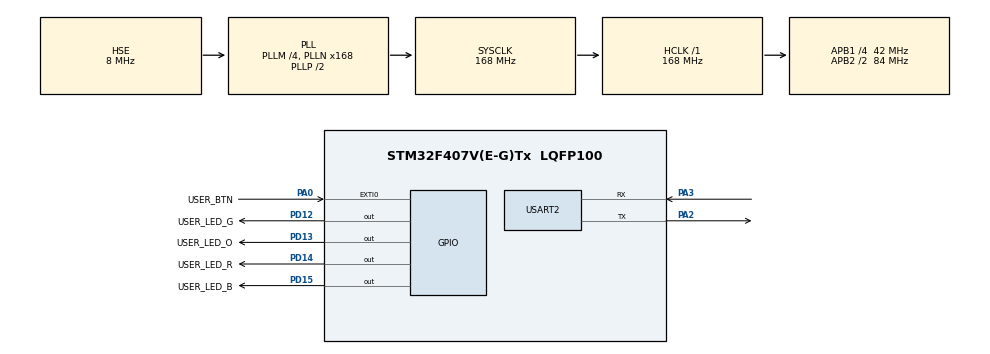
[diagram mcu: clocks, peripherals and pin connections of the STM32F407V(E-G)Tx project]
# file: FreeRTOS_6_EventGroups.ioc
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FREERTOS.INCLUDE_xEventGroupSetBitFromISR=1
FREERTOS.INCLUDE_xTimerPendFunctionCall=1
FREERTOS.Tasks01=BitSetter,0,128,EventBitSetTask,Default,NULL,Dynamic,NULL,NULL
FREERTOS.configUSE_TIMERS=1
Mcu.Family=STM32F4
Mcu.Name=STM32F407V(E-G)Tx
Mcu.Package=LQFP100
NVIC.EXTI0_IRQn=true\:5\:0\:true\:false\:false\:false\:true\:false
NVIC.PriorityGroup=NVIC_PRIORITYGROUP_4
NVIC.TIM1_UP_TIM10_IRQn=true\:0\:0\:false\:false\:true\:false\:false\:true
NVIC.TimeBase=TIM1_UP_TIM10_IRQn
NVIC.TimeBaseIP=TIM1
PA0-WKUP.GPIO_Label=USER_BTN
PA0-WKUP.GPIO_PuPd=GPIO_PULLDOWN
PA0-WKUP.Signal=GPXTI0
PA2.Mode=Asynchronous
PA2.Signal=USART2_TX
PA3.Mode=Asynchronous
PA3.Signal=USART2_RX
PD12.GPIO_Label=USER_LED_G
PD12.Signal=GPIO_Output
PD13.GPIO_Label=USER_LED_O
PD13.Signal=GPIO_Output
PD14.GPIO_Label=USER_LED_R
PD14.Signal=GPIO_Output
PD15.GPIO_Label=USER_LED_B
PD15.Signal=GPIO_Output
PH0-OSC_IN.Mode=HSE-External-Oscillator
PH0-OSC_IN.Signal=RCC_OSC_IN
PH1-OSC_OUT.Mode=HSE-External-Oscillator
PH1-OSC_OUT.Signal=RCC_OSC_OUT
ProjectManager.HeapSize=0x200
ProjectManager.StackSize=0x400
ProjectManager.TargetToolchain=STM32CubeIDE
RCC.48MHZClocksFreq_Value=84000000
RCC.AHBFreq_Value=168000000
RCC.APB1CLKDivider=RCC_HCLK_DIV4
RCC.APB1Freq_Value=42000000
RCC.APB1TimFreq_Value=84000000
RCC.APB2CLKDivider=RCC_HCLK_DIV2
RCC.APB2Freq_Value=84000000
RCC.APB2TimFreq_Value=168000000
RCC.CortexFreq_Value=168000000
RCC.HCLKFreq_Value=168000000
RCC.HSE_VALUE=8000000
RCC.HSI_VALUE=16000000
RCC.LSE_VALUE=32768
RCC.PLLM=4
RCC.PLLN=168
RCC.PLLSourceVirtual=RCC_PLLSOURCE_HSE
RCC.SYSCLKFreq_VALUE=168000000
RCC.SYSCLKSource=RCC_SYSCLKSOURCE_PLLCLK
RCC.VCOOutputFreq_Value=336000000
USART2.VirtualMode=VM_ASYNC
VP_FREERTOS_VS_CMSIS_V1.Mode=CMSIS_V1
VP_SYS_VS_tim1.Mode=TIM1
board=custom

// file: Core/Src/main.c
/* USER CODE BEGIN Header */
/**
  ******************************************************************************
  * @file           : main.c
  * @brief          : Main program body
  ******************************************************************************
  * @attention
  *
  * <h2><center>&copy; Copyright (c) 2020 STMicroelectronics.
  * All rights reserved.</center></h2>
  *
  * This software component is licensed by ST under BSD 3-Clause license,
  * the "License"; You may not use this file except in compliance with the
  * License. You may obtain a copy of the License at:
  *                        opensource.org/licenses/BSD-3-Clause
  *
  ******************************************************************************
  */
/* USER CODE END Header */
#include "main.h"
#include "cmsis_os.h"

/* USER CODE BEGIN Includes */
#include "string.h"

/* USER CODE END Includes */

/* USER CODE BEGIN PD */

/* Definitions for the event bits in the event group. */
#define mainFIRST_TASK_BIT ( 1UL << 0UL ) /* Event bit 0, which is set by a task. */
#define mainSECOND_TASK_BIT ( 1UL << 1UL ) /* Event bit 1, which is set by a task. */
#define mainISR_BIT ( 1UL << 2UL ) /* Event bit 2, which is set by an ISR. */

/* USER CODE END PD */

UART_HandleTypeDef huart2;

osThreadId BitSetterHandle;
/* USER CODE BEGIN PV */

EventGroupHandle_t xEventGroup;

/* USER CODE END PV */

void SystemClock_Config(void);
static void MX_GPIO_Init(void);
static void MX_USART2_UART_Init(void);
void EventBitSetTask(void const * argument);

/* USER CODE BEGIN PFP */

void EventBitReadTask(void* argument);
void InterruptTask(void *pvParameter1, uint32_t ulParameter2);
void UartPrint(char* message);

/* USER CODE END PFP */

int main(void)
{

  /* MCU Configuration--------------------------------------------------------*/

  /* Reset of all peripherals, Initializes the Flash interface and the Systick. */
  HAL_Init();

  /* Configure the system clock */
  SystemClock_Config();

  /* Initialize all configured peripherals */
  MX_GPIO_Init();
  MX_USART2_UART_Init();

  /* Create the thread(s) */
  /* definition and creation of BitSetter */
  osThreadDef(BitSetter, EventBitSetTask, osPriorityNormal, 0, 128);
  BitSetterHandle = osThreadCreate(osThread(BitSetter), NULL);

  /* USER CODE BEGIN RTOS_THREADS */

  xEventGroup = xEventGroupCreate();

  xTaskCreate(EventBitReadTask, "BitReader", configMINIMAL_STACK_SIZE, NULL, 1, NULL);

//  xTaskCreate(InterruptTask, "InterruptTask", configMINIMAL_STACK_SIZE, NULL, 2, NULL);
  /* add threads, ... */
  /* USER CODE END RTOS_THREADS */

  /* Start scheduler */
  osKernelStart();

  /* We should never get here as control is now taken by the scheduler */
  /* Infinite loop */
  while (1)
  {

  }
}

void SystemClock_Config(void)
{
  RCC_OscInitTypeDef RCC_OscInitStruct = {0};
  RCC_ClkInitTypeDef RCC_ClkInitStruct = {0};

  /** Configure the main internal regulator output voltage
  */
  __HAL_RCC_PWR_CLK_ENABLE();
  __HAL_PWR_VOLTAGESCALING_CONFIG(PWR_REGULATOR_VOLTAGE_SCALE1);
  /** Initializes the RCC Oscillators according to the specified parameters
  * in the RCC_OscInitTypeDef structure.
  */
  RCC_OscInitStruct.OscillatorType = RCC_OSCILLATORTYPE_HSE;
  RCC_OscInitStruct.HSEState = RCC_HSE_ON;
  RCC_OscInitStruct.PLL.PLLState = RCC_PLL_ON;
  RCC_OscInitStruct.PLL.PLLSource = RCC_PLLSOURCE_HSE;
  RCC_OscInitStruct.PLL.PLLM = 4;
  RCC_OscInitStruct.PLL.PLLN = 168;
  RCC_OscInitStruct.PLL.PLLP = RCC_PLLP_DIV2;
  RCC_OscInitStruct.PLL.PLLQ = 4;
  if (HAL_RCC_OscConfig(&RCC_OscInitStruct) != HAL_OK)
  {
    Error_Handler();
  }
  /** Initializes the CPU, AHB and APB buses clocks
  */
  RCC_ClkInitStruct.ClockType = RCC_CLOCKTYPE_HCLK|RCC_CLOCKTYPE_SYSCLK
                              |RCC_CLOCKTYPE_PCLK1|RCC_CLOCKTYPE_PCLK2;
  RCC_ClkInitStruct.SYSCLKSource = RCC_SYSCLKSOURCE_PLLCLK;
  RCC_ClkInitStruct.AHBCLKDivider = RCC_SYSCLK_DIV1;
  RCC_ClkInitStruct.APB1CLKDivider = RCC_HCLK_DIV4;
  RCC_ClkInitStruct.APB2CLKDivider = RCC_HCLK_DIV2;

  if (HAL_RCC_ClockConfig(&RCC_ClkInitStruct, FLASH_LATENCY_5) != HAL_OK)
  {
    Error_Handler();
  }
}

static void MX_USART2_UART_Init(void)
{

  huart2.Instance = USART2;
  huart2.Init.BaudRate = 115200;
  huart2.Init.WordLength = UART_WORDLENGTH_8B;
  huart2.Init.StopBits = UART_STOPBITS_1;
  huart2.Init.Parity = UART_PARITY_NONE;
  huart2.Init.Mode = UART_MODE_TX_RX;
  huart2.Init.HwFlowCtl = UART_HWCONTROL_NONE;
  huart2.Init.OverSampling = UART_OVERSAMPLING_16;
  if (HAL_UART_Init(&huart2) != HAL_OK)
  {
    Error_Handler();
  }

}

static void MX_GPIO_Init(void)
{
  GPIO_InitTypeDef GPIO_InitStruct = {0};

  /* GPIO Ports Clock Enable */
  __HAL_RCC_GPIOH_CLK_ENABLE();
  __HAL_RCC_GPIOA_CLK_ENABLE();
  __HAL_RCC_GPIOD_CLK_ENABLE();

  /*Configure GPIO pin Output Level */
  HAL_GPIO_WritePin(GPIOD, USER_LED_G_Pin|USER_LED_O_Pin|USER_LED_R_Pin|USER_LED_B_Pin, GPIO_PIN_RESET);

  /*Configure GPIO pin : USER_BTN_Pin */
  GPIO_InitStruct.Pin = USER_BTN_Pin;
  GPIO_InitStruct.Mode = GPIO_MODE_IT_RISING;
  GPIO_InitStruct.Pull = GPIO_PULLDOWN;
  HAL_GPIO_Init(USER_BTN_GPIO_Port, &GPIO_InitStruct);

  /*Configure GPIO pins : USER_LED_G_Pin USER_LED_O_Pin USER_LED_R_Pin USER_LED_B_Pin */
  GPIO_InitStruct.Pin = USER_LED_G_Pin|USER_LED_O_Pin|USER_LED_R_Pin|USER_LED_B_Pin;
  GPIO_InitStruct.Mode = GPIO_MODE_OUTPUT_PP;
  GPIO_InitStruct.Pull = GPIO_NOPULL;
  GPIO_InitStruct.Speed = GPIO_SPEED_FREQ_LOW;
  HAL_GPIO_Init(GPIOD, &GPIO_InitStruct);

  /* EXTI interrupt init*/
  HAL_NVIC_SetPriority(EXTI0_IRQn, 5, 0);
  HAL_NVIC_EnableIRQ(EXTI0_IRQn);

}

/* USER CODE BEGIN 4 */

void EventBitReadTask(void* argument)
{
	EventBits_t xEventGroupValue;

	const EventBits_t xBitsToWaitFor = ( mainFIRST_TASK_BIT  |
										 mainSECOND_TASK_BIT |
										 mainISR_BIT );
	for( ;; )
	{
		/* Block to wait for event bits to become set within the event group. */
		xEventGroupValue = xEventGroupWaitBits( /* The event group to read. */
												xEventGroup,
												/* Bits to test. */
												xBitsToWaitFor,
												/* Clear bits on exit if the
												unblock condition is met. */
												pdTRUE,
												/* Don't wait for all bits. This
												parameter is set to pdTRUE for the
												second execution. */
												pdFALSE,
												/* Don't time out. */
												portMAX_DELAY );

		/* Print a message for each bit that was set. */
		if( ( xEventGroupValue & mainFIRST_TASK_BIT ) != 0 )
		{
			UartPrint( "Bit reading task -\t Event bit 0 was set\r\n" );
		}
		if( ( xEventGroupValue & mainSECOND_TASK_BIT ) != 0 )
		{
			UartPrint( "Bit reading task -\t Event bit 1 was set\r\n" );
		}
		if( ( xEventGroupValue & mainISR_BIT ) != 0 )
		{
			UartPrint( "Bit reading task -\t Event bit 2 was set\r\n" );
		}
	}
}

void InterruptTask(void *pvParameter1, uint32_t ulParameter2)
{
	HAL_GPIO_TogglePin(USER_LED_G_GPIO_Port, USER_LED_G_Pin);
	UartPrint((char*)pvParameter1);

}

void EXTI0_IRQHandler()
{

	if( __HAL_GPIO_EXTI_GET_IT(GPIO_PIN_0) != 0 )
	{
		__HAL_GPIO_EXTI_CLEAR_IT(GPIO_PIN_0);

		static const char *pcString = "Bit setting ISR -\t about to set bit 2.\r\n";
		BaseType_t xHigherPriorityTaskWoken = pdFALSE;

		xTimerPendFunctionCallFromISR( InterruptTask,
										( void * ) pcString,
										0,
										&xHigherPriorityTaskWoken );

		xEventGroupSetBitsFromISR( xEventGroup, mainISR_BIT, &xHigherPriorityTaskWoken );

		portYIELD_FROM_ISR( xHigherPriorityTaskWoken );
	}

}

void UartPrint(char* message)
{
	HAL_UART_Transmit(&huart2, (uint8_t*)message, strlen(message), 20);
}
/* USER CODE END 4 */

void EventBitSetTask(void const * argument)
{
  /* USER CODE BEGIN 5 */
	const TickType_t xDelay200ms = pdMS_TO_TICKS( 1000UL );
  /* Infinite loop */
  for(;;)
  {
	  /* Delay for a short while before starting the next loop. */
	  vTaskDelay( xDelay200ms );
	  /* Print out a message to say event bit 0 is about to be set by the task,
	  then set event bit 0. */
	  UartPrint( "Bit setting task -\t about to set bit 0.\r\n" );
	  xEventGroupSetBits( xEventGroup, mainFIRST_TASK_BIT );
	  /* Delay for a short while before setting the other bit. */
	  vTaskDelay( xDelay200ms );
	  /* Print out a message to say event bit 1 is about to be set by the task,
	  then set event bit 1. */
	  UartPrint( "Bit setting task -\t about to set bit 1.\r\n" );
	  xEventGroupSetBits( xEventGroup, mainSECOND_TASK_BIT );

  }
  /* USER CODE END 5 */
}

void HAL_TIM_PeriodElapsedCallback(TIM_HandleTypeDef *htim)
{
  if (htim->Instance == TIM1) {
    HAL_IncTick();
  }
}

void Error_Handler(void)
{
}

/************************ (C) COPYRIGHT STMicroelectronics *****END OF FILE****/
